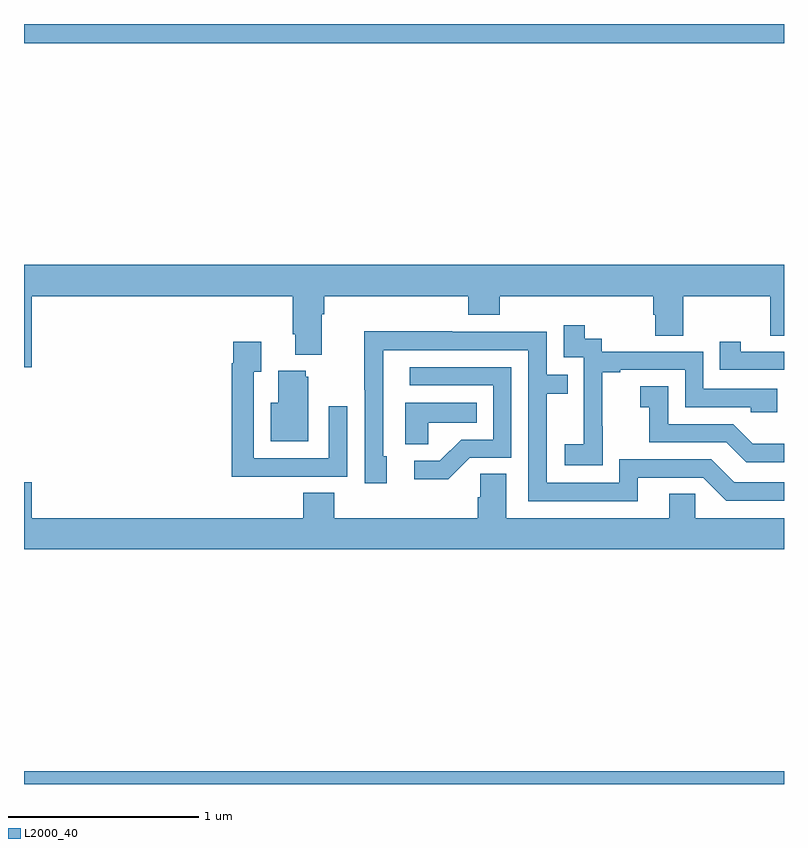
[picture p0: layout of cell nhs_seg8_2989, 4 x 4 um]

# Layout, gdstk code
import gdstk
lib = gdstk.Library(unit=1e-6, precision=1e-09)
def R(c, l, rs):  # rectangles x0, y0, x1, y1
    for r in rs: c.add(gdstk.rectangle(r[:2], r[2:], *l))
def P(c, l, *ps):  # polygons
    for p in ps: c.add(gdstk.Polygon(p, *l))
L2000_40 = (2000, 40)

nhs_seg8_2989 = lib.new_cell('nhs_seg8_2989')
R(nhs_seg8_2989, L2000_40, [(297,1145.9,301,1145.968), (297,1149.8,301,1149.9)])
P(nhs_seg8_2989, L2000_40, [(297.04,1148.468),(298.415,1148.468),(298.415,1148.266),(298.427,1148.266),(298.427,1148.159),(298.567,1148.159),(298.567,1148.372),(298.58,1148.372),(298.58,1148.468),(299.339,1148.468),(299.339,1148.369),(299.504,1148.369),(299.504,1148.468),(300.311,1148.468),(300.311,1148.37),(300.323,1148.37),(300.323,1148.26),(300.471,1148.26),(300.471,1148.468),(300.928,1148.468),(300.928,1148.26),(301,1148.26),(301,1148.632),(297,1148.632),(297,1148.094),(297.04,1148.094)],
  [(300.045,1147.783),(300.044,1147.783),(300.044,1148.067),(300.139,1148.067),(300.139,1148.079),(300.48,1148.079),(300.48,1147.884),(300.825,1147.884),(300.825,1147.857),(300.965,1147.857),(300.965,1147.98),(300.576,1147.98),(300.576,1148.175),(300.042,1148.175),(300.042,1148.244),(299.95,1148.244),(299.95,1148.314),(299.841,1148.314),(299.841,1148.145),(299.946,1148.145),(299.946,1147.916),(299.945,1147.916),(299.945,1147.687),(299.847,1147.687),(299.847,1147.577),(300.045,1147.577)],
  [(300.229,1147.512),(300.576,1147.512),(300.696,1147.392),(301,1147.392),(301,1147.488),(300.738,1147.488),(300.618,1147.608),(300.132,1147.608),(300.132,1147.485),(299.751,1147.485),(299.751,1147.954),(299.861,1147.954),(299.861,1148.055),(299.751,1148.055),(299.751,1148.28),(299.255,1148.28),(299.255,1148.282),(298.792,1148.282),(298.792,1147.975),(298.794,1147.975),(298.794,1147.482),(298.909,1147.482),(298.909,1147.626),(298.89,1147.626),(298.89,1148.184),(299.655,1148.184),(299.655,1147.389),(300.229,1147.389)],
  [(301,1148.175),(300.772,1148.175),(300.772,1148.227),(300.661,1148.227),(300.661,1148.079),(301,1148.079)],
  [(298.385,1147.518),(298.701,1147.518),(298.701,1147.888),(298.605,1147.888),(298.605,1147.614),(298.209,1147.614),(298.209,1148.071),(298.249,1148.071),(298.249,1148.227),(298.101,1148.227),(298.101,1148.114),(298.093,1148.114),(298.093,1147.517),(298.385,1147.517)],
  [(299.346,1147.617),(299.565,1147.617),(299.565,1148.094),(299.031,1148.094),(299.031,1147.998),(299.469,1147.998),(299.469,1147.713),(299.3,1147.713),(299.189,1147.602),(299.055,1147.602),(299.055,1147.505),(299.233,1147.505)],
  [(298.495,1148.043),(298.484,1148.043),(298.484,1148.074),(298.337,1148.074),(298.337,1147.906),(298.298,1147.906),(298.298,1147.703),(298.495,1147.703)],
  [(301,1147.69),(300.836,1147.69),(300.732,1147.794),(300.39,1147.794),(300.39,1147.993),(300.243,1147.993),(300.243,1147.883),(300.292,1147.883),(300.292,1147.698),(300.695,1147.698),(300.8,1147.593),(301,1147.593)],
  [(299.127,1147.802),(299.384,1147.802),(299.384,1147.906),(299.006,1147.906),(299.006,1147.687),(299.127,1147.687)],
  [(301,1147.3),(300.534,1147.3),(300.534,1147.427),(300.395,1147.427),(300.395,1147.3),(299.539,1147.3),(299.539,1147.532),(299.4,1147.532),(299.4,1147.409),(299.387,1147.409),(299.387,1147.3),(298.634,1147.3),(298.634,1147.433),(298.469,1147.433),(298.469,1147.3),(297.04,1147.3),(297.04,1147.489),(297,1147.489),(297,1147.136),(301,1147.136)])

lib.write_gds('nhs_seg8_2989.gds')
